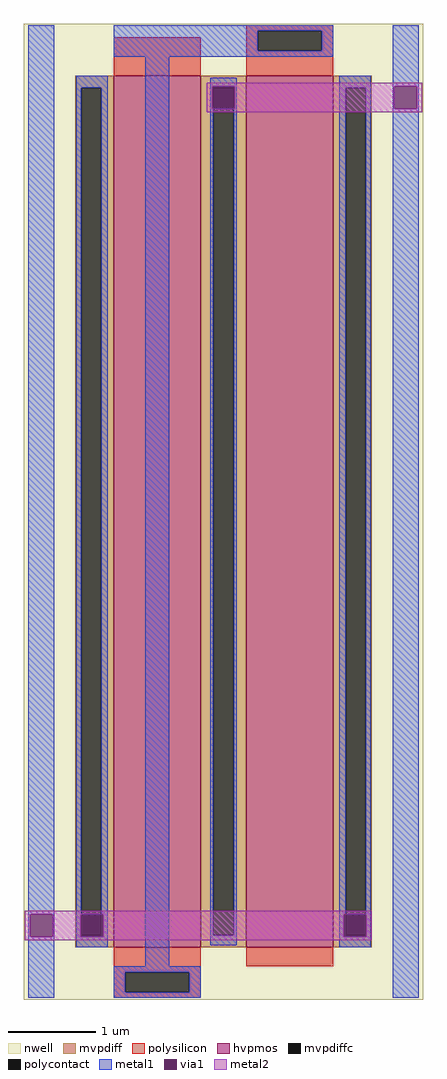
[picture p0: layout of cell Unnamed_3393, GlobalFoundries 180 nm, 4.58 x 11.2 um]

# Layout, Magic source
magic
tech gf180mcuD
magscale 1 10
<< nwell >>
rect -192 -120 724 2120
<< hvpmos >>
rect 14 0 214 2000
rect 318 0 518 2000
<< mvpdiff >>
rect -74 1973 14 2000
rect -74 27 -61 1973
rect -15 27 14 1973
rect -74 0 14 27
rect 214 1973 318 2000
rect 214 27 243 1973
rect 289 27 318 1973
rect 214 0 318 27
rect 518 1973 606 2000
rect 518 27 547 1973
rect 593 27 606 1973
rect 518 0 606 27
<< mvpdiffc >>
rect -61 27 -15 1973
rect 243 27 289 1973
rect 547 27 593 1973
<< polysilicon >>
rect 318 2103 518 2116
rect 14 2000 214 2088
rect 318 2057 345 2103
rect 491 2057 518 2103
rect 318 2000 518 2057
rect 14 -57 214 0
rect 318 -44 518 0
rect 14 -103 41 -57
rect 187 -103 214 -57
rect 14 -116 214 -103
<< polycontact >>
rect 345 2057 491 2103
rect 41 -103 187 -57
<< metal1 >>
rect -182 76 -122 2116
rect 14 2103 518 2116
rect 14 2057 345 2103
rect 491 2057 518 2103
rect 14 2044 518 2057
rect -182 24 -178 76
rect -126 24 -122 76
rect -182 -116 -122 24
rect -72 1973 0 2000
rect -72 76 -61 1973
rect -15 76 0 1973
rect -72 24 -62 76
rect -10 24 0 76
rect -72 0 0 24
rect 86 -44 142 2044
rect 236 1976 296 1996
rect 236 1924 240 1976
rect 292 1924 296 1976
rect 236 27 243 1924
rect 289 27 296 1924
rect 236 4 296 27
rect 532 1973 604 2000
rect 532 76 547 1973
rect 593 76 604 1973
rect 532 24 542 76
rect 594 24 604 76
rect 532 0 604 24
rect 654 1976 714 2116
rect 654 1924 658 1976
rect 710 1924 714 1976
rect 14 -57 214 -44
rect 14 -103 41 -57
rect 187 -103 214 -57
rect 14 -116 214 -103
rect 654 -116 714 1924
<< via1 >>
rect -178 24 -126 76
rect -62 27 -61 76
rect -61 27 -15 76
rect -15 27 -10 76
rect -62 24 -10 27
rect 240 1973 292 1976
rect 240 1924 243 1973
rect 243 1924 289 1973
rect 289 1924 292 1973
rect 542 27 547 76
rect 547 27 593 76
rect 593 27 594 76
rect 542 24 594 27
rect 658 1924 710 1976
<< metal2 >>
rect 228 1976 722 1984
rect 228 1924 240 1976
rect 292 1924 658 1976
rect 710 1924 722 1976
rect 228 1916 722 1924
rect -190 76 606 84
rect -190 24 -178 76
rect -126 24 -62 76
rect -10 24 542 76
rect 594 24 606 76
rect -190 16 606 24
<< end >>
